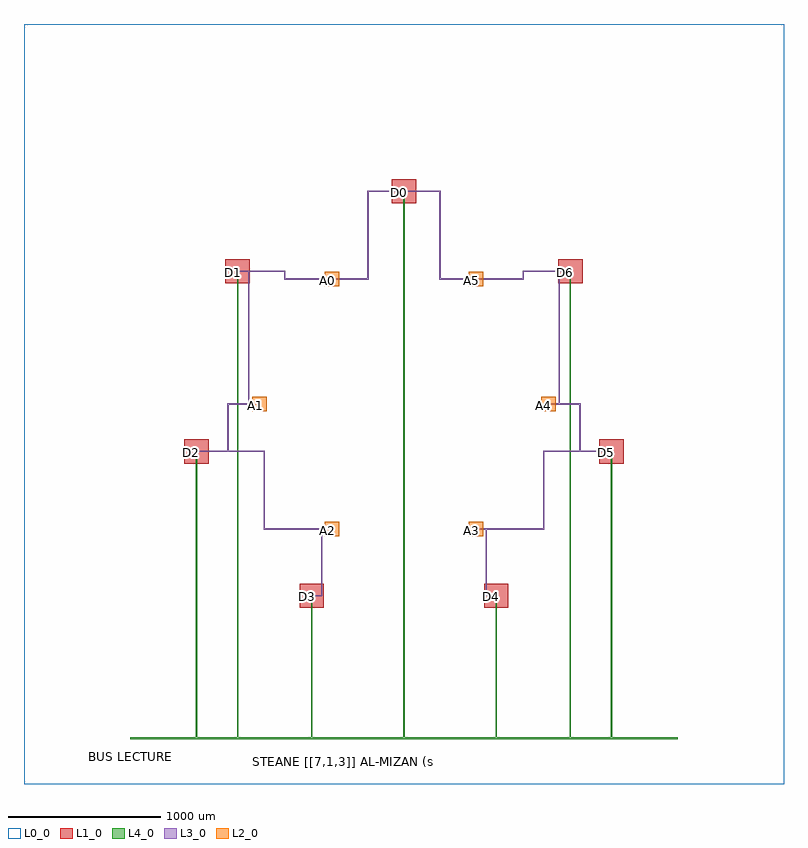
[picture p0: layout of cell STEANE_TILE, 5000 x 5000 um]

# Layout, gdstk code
import gdstk
lib = gdstk.Library(unit=1e-6, precision=1e-09)
def R(c, l, rs):  # rectangles x0, y0, x1, y1
    for r in rs: c.add(gdstk.rectangle(r[:2], r[2:], *l))
L0_0 = (0, 0)
L1_0 = (1, 0)
L2_0 = (2, 0)
L3_0 = (3, 0)
L4_0 = (4, 0)

steane_tile = lib.new_cell('STEANE_TILE')
R(steane_tile, L0_0, [(0,0,5000,5000)])
R(steane_tile, L1_0, [(1812.563,1158.644,1972.563,1318.644), (3027.437,1158.644,3187.437,1318.644), (1055.101,2108.471,1215.101,2268.471), (3784.899,2108.471,3944.899,2268.471), (1325.436,3292.886,1485.436,3452.886), (3514.564,3292.886,3674.564,3452.886), (2420,3820,2580,3980)])
R(steane_tile, L2_0, [(1977,1629.276,2073,1725.276), (2927,1629.276,3023,1725.276), (1502,2452,1598,2548), (3402,2452,3498,2548), (1977,3274.724,2073,3370.724), (2927,3274.724,3023,3370.724)])
R(steane_tile, L3_0, [(1888.563,1234.644,1962.781,1242.644), (1954.781,1234.644,1962.781,1681.276), (3037.219,1234.644,3045.219,1681.276), (3037.219,1234.644,3111.437,1242.644), (1576.05,1673.276,2029,1681.276), (1576.05,1673.276,1584.05,2192.471), (1954.781,1673.276,2029,1681.276), (2971,1673.276,3045.219,1681.276), (2971,1673.276,3423.95,1681.276), (3415.95,1673.276,3423.95,2192.471), (1131.101,2184.471,1346.55,2192.471), (1131.101,2184.471,1584.05,2192.471), (1338.55,2184.471,1346.55,2504), (3415.95,2184.471,3868.899,2192.471), (3653.45,2184.471,3661.45,2504), (3653.45,2184.471,3868.899,2192.471), (1338.55,2496,1554,2504), (1473.718,2496,1554,2504), (1473.718,2496,1481.718,3376.886), (3446,2496,3661.45,2504), (3446,2496,3526.282,2504), (3518.282,2496,3526.282,3376.886), (1711.218,3318.724,2029,3326.724), (1711.218,3318.724,1719.218,3376.886), (2021,3318.724,2266.5,3326.724), (2258.5,3318.724,2266.5,3904), (2733.5,3318.724,2979,3326.724), (2733.5,3318.724,2741.5,3904), (2971,3318.724,3288.782,3326.724), (3280.782,3318.724,3288.782,3376.886), (1401.436,3368.886,1719.218,3376.886), (1401.436,3368.886,1481.718,3376.886), (3280.782,3368.886,3598.564,3376.886), (3518.282,3368.886,3598.564,3376.886), (2258.5,3896,2504,3904), (2496,3896,2741.5,3904)])
R(steane_tile, L4_0, [(700,294,4300,306), (1131.101,296,1139.101,2192.471), (1401.436,296,1409.436,3376.886), (1888.563,296,1896.563,1242.644), (2496,296,2504,3904), (3103.437,296,3111.437,1242.644), (3590.564,296,3598.564,3376.886), (3860.899,296,3868.899,2192.471)])
steane_tile.add(gdstk.Label('STEANE [[7,1,3]] AL-MIZAN (symbolique)', (2100,150), layer=7, texttype=0))
steane_tile.add(gdstk.Label('D0', (2470,3892), layer=7, texttype=0))
steane_tile.add(gdstk.Label('D1', (1375.436,3364.886), layer=7, texttype=0))
steane_tile.add(gdstk.Label('D2', (1105.101,2180.471), layer=7, texttype=0))
steane_tile.add(gdstk.Label('D3', (1862.563,1230.644), layer=7, texttype=0))
steane_tile.add(gdstk.Label('D4', (3077.437,1230.644), layer=7, texttype=0))
steane_tile.add(gdstk.Label('D5', (3834.899,2180.471), layer=7, texttype=0))
steane_tile.add(gdstk.Label('D6', (3564.564,3364.886), layer=7, texttype=0))
steane_tile.add(gdstk.Label('A0', (1995,3314.724), layer=7, texttype=0))
steane_tile.add(gdstk.Label('A1', (1520,2492), layer=7, texttype=0))
steane_tile.add(gdstk.Label('A2', (1995,1669.276), layer=7, texttype=0))
steane_tile.add(gdstk.Label('A3', (2945,1669.276), layer=7, texttype=0))
steane_tile.add(gdstk.Label('A4', (3420,2492), layer=7, texttype=0))
steane_tile.add(gdstk.Label('A5', (2945,3314.724), layer=7, texttype=0))
steane_tile.add(gdstk.Label('BUS LECTURE', (700,180), layer=7, texttype=0))

lib.write_gds('STEANE_TILE.gds')
